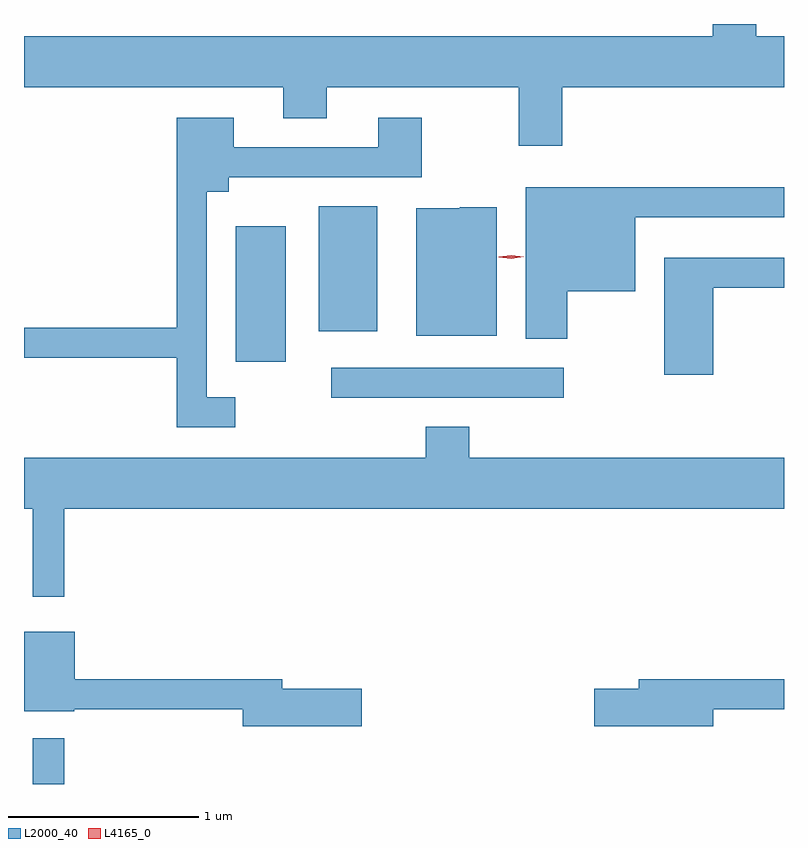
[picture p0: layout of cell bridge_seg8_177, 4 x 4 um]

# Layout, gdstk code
import gdstk
lib = gdstk.Library(unit=1e-6, precision=1e-09)
def R(c, l, rs):  # rectangles x0, y0, x1, y1
    for r in rs: c.add(gdstk.rectangle(r[:2], r[2:], *l))
def P(c, l, *ps):  # polygons
    for p in ps: c.add(gdstk.Polygon(p, *l))
L2000_40 = (2000, 40)
L4165_0 = (4165, 0)

bridge_seg8_177 = lib.new_cell('bridge_seg8_177')
R(bridge_seg8_177, L2000_40, [(1299.001,1906.008,1299.169,1906.248), (1300.573,1908.041,1301.798,1908.199), (1300.071,1908.231,1300.334,1908.944), (1300.506,1908.391,1300.814,1909.049)])
P(bridge_seg8_177, L2000_40, [(1298.956,1909.676),(1300.321,1909.676),(1300.321,1909.511),(1300.549,1909.511),(1300.549,1909.676),(1301.561,1909.676),(1301.561,1909.366),(1301.789,1909.366),(1301.789,1909.676),(1302.956,1909.676),(1302.956,1909.944),(1302.809,1909.944),(1302.809,1910.008),(1302.581,1910.008),(1302.581,1909.944),(1298.956,1909.944)],
  [(1300.068,1908.044),(1299.919,1908.044),(1299.919,1909.126),(1300.034,1909.126),(1300.034,1909.201),(1301.049,1909.201),(1301.049,1909.514),(1300.821,1909.514),(1300.821,1909.359),(1300.059,1909.359),(1300.059,1909.514),(1299.761,1909.514),(1299.761,1908.409),(1298.956,1908.409),(1298.956,1908.251),(1299.761,1908.251),(1299.761,1907.886),(1300.068,1907.886)],
  [(1301.814,1908.601),(1302.174,1908.601),(1302.174,1908.991),(1302.956,1908.991),(1302.956,1909.149),(1301.596,1909.149),(1301.596,1908.351),(1301.814,1908.351)],
  [(1301.444,1909.044),(1301.25,1909.044),(1301.25,1909.039),(1301.021,1909.039),(1301.021,1908.366),(1301.444,1908.366)],
  [(1302.584,1908.621),(1302.956,1908.621),(1302.956,1908.779),(1302.326,1908.779),(1302.326,1908.161),(1302.584,1908.161)],
  [(1299.169,1907.456),(1302.956,1907.456),(1302.956,1907.724),(1301.299,1907.724),(1301.299,1907.889),(1301.071,1907.889),(1301.071,1907.724),(1298.956,1907.724),(1298.956,1907.456),(1299.001,1907.456),(1299.001,1906.993),(1299.169,1906.993)],
  [(1300.734,1906.509),(1300.314,1906.509),(1300.314,1906.559),(1299.224,1906.559),(1299.224,1906.809),(1298.956,1906.809),(1298.956,1906.391),(1299.22,1906.391),(1299.22,1906.401),(1300.106,1906.401),(1300.106,1906.311),(1300.734,1906.311)],
  [(1302.584,1906.401),(1302.956,1906.401),(1302.956,1906.559),(1302.191,1906.559),(1302.191,1906.509),(1301.956,1906.509),(1301.956,1906.311),(1302.584,1906.311)])
P(bridge_seg8_177, L4165_0, [(1301.52,1908.773),(1301.454,1908.781),(1301.454,1908.782),(1301.454,1908.782),(1301.52,1908.792),(1301.586,1908.784),(1301.586,1908.783),(1301.586,1908.783)])

lib.write_gds('bridge_seg8_177.gds')
